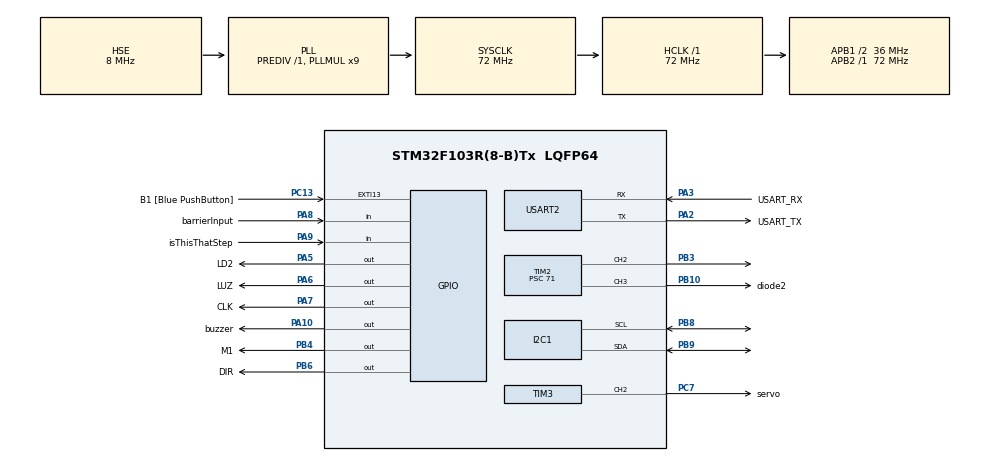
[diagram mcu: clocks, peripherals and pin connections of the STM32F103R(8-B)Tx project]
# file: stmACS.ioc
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Mcu.Family=STM32F1
Mcu.Name=STM32F103R(8-B)Tx
Mcu.Package=LQFP64
NVIC.EXTI15_10_IRQn=true\:0\:0\:false\:false\:true\:true\:true
NVIC.PriorityGroup=NVIC_PRIORITYGROUP_4
NVIC.TIM3_IRQn=true\:0\:0\:false\:false\:true\:true\:true
PA10.GPIO_Label=buzzer
PA10.Signal=GPIO_Output
PA13.GPIO_Label=TMS
PA13.Mode=Serial_Wire
PA13.Signal=SYS_JTMS-SWDIO
PA14.GPIO_Label=TCK
PA14.Mode=Serial_Wire
PA14.Signal=SYS_JTCK-SWCLK
PA2.GPIO_Label=USART_TX
PA2.GPIO_Mode=GPIO_MODE_AF_PP
PA2.GPIO_PuPd=GPIO_NOPULL
PA2.GPIO_Speed=GPIO_SPEED_FREQ_LOW
PA2.Mode=Asynchronous
PA2.Signal=USART2_TX
PA3.GPIO_Label=USART_RX
PA3.GPIO_Mode=GPIO_MODE_AF_PP
PA3.GPIO_PuPd=GPIO_NOPULL
PA3.GPIO_Speed=GPIO_SPEED_FREQ_LOW
PA3.Mode=Asynchronous
PA3.Signal=USART2_RX
PA5.GPIO_Label=LD2
PA5.GPIO_ModeDefaultOutputPP=GPIO_MODE_OUTPUT_PP
PA5.GPIO_PuPd=GPIO_NOPULL
PA5.GPIO_Speed=GPIO_SPEED_FREQ_LOW
PA5.Signal=GPIO_Output
PA6.GPIO_Label=LUZ
PA6.Signal=GPIO_Output
PA7.GPIO_Label=CLK
PA7.Signal=GPIO_Output
PA8.GPIO_Label=barrierInput
PA8.Signal=GPIO_Input
PA9.GPIO_Label=isThisThatStep
PA9.Signal=GPIO_Input
PB10.GPIO_Label=diode2
PB10.Signal=S_TIM2_CH3
PB3.Signal=S_TIM2_CH2
PB4.GPIO_Label=M1
PB4.Signal=GPIO_Output
PB6.GPIO_Label=DIR
PB6.Signal=GPIO_Output
PB8.Mode=I2C
PB8.Signal=I2C1_SCL
PB9.Mode=I2C
PB9.Signal=I2C1_SDA
PC13-TAMPER-RTC.GPIO_Label=B1 [Blue PushButton]
PC13-TAMPER-RTC.GPIO_PuPd=GPIO_NOPULL
PC13-TAMPER-RTC.Signal=GPXTI13
PC14-OSC32_IN.Mode=LSE-External-Oscillator
PC14-OSC32_IN.Signal=RCC_OSC32_IN
PC15-OSC32_OUT.Mode=LSE-External-Oscillator
PC15-OSC32_OUT.Signal=RCC_OSC32_OUT
PC7.GPIO_Label=servo
PC7.Signal=S_TIM3_CH2
PD0-OSC_IN.Mode=HSE-External-Clock-Source
PD0-OSC_IN.Signal=RCC_OSC_IN
PD1-OSC_OUT.Mode=HSE-External-Clock-Source
PD1-OSC_OUT.Signal=RCC_OSC_OUT
ProjectManager.HeapSize=0x200
ProjectManager.StackSize=0x400
ProjectManager.TargetToolchain=STM32CubeIDE
RCC.AHBFreq_Value=72000000
RCC.APB1CLKDivider=RCC_HCLK_DIV2
RCC.APB1Freq_Value=36000000
RCC.APB1TimFreq_Value=72000000
RCC.APB2Freq_Value=72000000
RCC.APB2TimFreq_Value=72000000
RCC.HCLKFreq_Value=72000000
RCC.PLLMUL=RCC_PLL_MUL9
RCC.PLLSourceVirtual=RCC_PLLSOURCE_HSE
RCC.RTCClockSelection=RCC_RTCCLKSOURCE_LSE
RCC.SYSCLKFreq_VALUE=72000000
RCC.SYSCLKSource=RCC_SYSCLKSOURCE_PLLCLK
RCC.USBFreq_Value=72000000
SH.S_TIM2_CH2.0=TIM2_CH2,PWM Generation2 CH2
SH.S_TIM2_CH3.0=TIM2_CH3,PWM Generation3 CH3
SH.S_TIM3_CH2.0=TIM3_CH2,PWM Generation2 CH2
TIM2.Channel-PWM\ Generation2\ CH2=TIM_CHANNEL_2
TIM2.Channel-PWM\ Generation3\ CH3=TIM_CHANNEL_3
TIM2.Period=999
TIM2.Prescaler=71
TIM3.Channel-PWM\ Generation2\ CH2=TIM_CHANNEL_2
TIM3.Period=19999
TIM3.Prescaler=71
USART2.VirtualMode=VM_ASYNC
VP_TIM2_VS_ClockSourceINT.Mode=Internal
VP_TIM3_VS_ClockSourceINT.Mode=Internal
board=NUCLEO-F103RB

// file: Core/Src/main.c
/* USER CODE BEGIN Header */
/**
  ******************************************************************************
  * @file           : main.c
  * @brief          : Main program body
  ******************************************************************************
  * @attention
  *
  * <h2><center>&copy; Copyright (c) 2020 STMicroelectronics.
  * All rights reserved.</center></h2>
  *
  * This software component is licensed by ST under BSD 3-Clause license,
  * the "License"; You may not use this file except in compliance with the
  * License. You may obtain a copy of the License at:
  *                        opensource.org/licenses/BSD-3-Clause
  *
  ******************************************************************************
  */
/* USER CODE END Header */

#include "main.h"

/* USER CODE BEGIN Includes */
#include "i2c-lcd.h"
/* USER CODE END Includes */

I2C_HandleTypeDef hi2c1;

TIM_HandleTypeDef htim2;
TIM_HandleTypeDef htim3;

UART_HandleTypeDef huart2;

/* USER CODE BEGIN PV */
_Bool isNextStepServo = 0;
int licznik=0;
//bool isNextStepServo = false; //determines if next step is cherry
/* USER CODE END PV */

void SystemClock_Config(void);
static void MX_GPIO_Init(void);
static void MX_USART2_UART_Init(void);
static void MX_TIM3_Init(void);
static void MX_I2C1_Init(void);
static void MX_TIM2_Init(void);

int main(void)
{

  /* MCU Configuration--------------------------------------------------------*/

  /* Reset of all peripherals, Initializes the Flash interface and the Systick. */
  HAL_Init();

  /* Configure the system clock */
  SystemClock_Config();

  /* Initialize all configured peripherals */
  MX_GPIO_Init();
  MX_USART2_UART_Init();
  MX_TIM3_Init();
  MX_I2C1_Init();
  MX_TIM2_Init();
  /* USER CODE BEGIN 2 */
  HAL_TIM_PWM_Start(&htim3, TIM_CHANNEL_2); /* PWM servo PC7 */
  HAL_TIM_PWM_Start(&htim2, TIM_CHANNEL_2); /* PWM diode1 */
  HAL_TIM_PWM_Start(&htim2, TIM_CHANNEL_3); /* PWM diode2 */
  lcd_init ();
  HAL_GPIO_WritePin(DIR_GPIO_Port, DIR_Pin, GPIO_PIN_RESET);
  //HAL_GPIO_WritePin(M1_GPIO_Port, M1_Pin, GPIO_PIN_SET);
  HAL_GPIO_WritePin(LUZ_GPIO_Port, LUZ_Pin, GPIO_PIN_RESET);
  HAL_GPIO_WritePin(CLK_GPIO_Port, CLK_Pin, GPIO_PIN_RESET);
  //__HAL_TIM_SET_COMPARE(&htim3, TIM_CHANNEL_2, 0);
 // htim3.Instance->CCR1=25;
  //HAL_Delay(1000);
  /* USER CODE END 2 */

  /* Infinite loop */
  /* USER CODE BEGIN WHILE */

  while (1)
  {

	  __HAL_TIM_SET_COMPARE(&htim2, TIM_CHANNEL_3, 1000);
	  //SILNIK KROKOWY

	  HAL_GPIO_WritePin(CLK_GPIO_Port, CLK_Pin, GPIO_PIN_SET);
	  HAL_Delay(1);
	  HAL_GPIO_WritePin(CLK_GPIO_Port, CLK_Pin, GPIO_PIN_RESET);
	  HAL_Delay(1000);

	  //HAL_GPIO_WritePin(LUZ_GPIO_Port, LUZ_Pin, GPIO_PIN_SET);

	  //lcd_send_string("JUDYTA MGF");
	  //HAL_Delay(1000);
	  //lcd_put_cur(1, 0);
	  //lcd_send_string("UMYJ NACZYNIA");

	  //WSTAW ZABEZPIECZENIE BUZZER I DIODA
	  	if(licznik>3){
	  		do{
	  	HAL_GPIO_WritePin(buzzer_GPIO_Port, buzzer_Pin, GPIO_PIN_SET);
	  	HAL_Delay(100);
	  	HAL_GPIO_WritePin(buzzer_GPIO_Port, buzzer_Pin, GPIO_PIN_RESET);
	  	HAL_Delay(1000);
	  	licznik=0;
	  	__HAL_TIM_SET_COMPARE(&htim2, TIM_CHANNEL_3, 0);
	  	__HAL_TIM_SET_COMPARE(&htim2, TIM_CHANNEL_2, 600);
	  		}while(HAL_GPIO_ReadPin(B1_GPIO_Port, B1_Pin) == 1);//wcisniety przycisk is button pressed?

	  	}

//czy wisnia wpadla
	  	  //if barrier broken -> signal low
		  if(HAL_GPIO_ReadPin(barrierInput_GPIO_Port, barrierInput_Pin) == 0){
			  isNextStepServo = 1;
			//  zmienna nextwycisniecie
		  }

		  //if step is righ (signal low) press the servo
		  if(HAL_GPIO_ReadPin(isThisThatStep_GPIO_Port, isThisThatStep_Pin) == 0 && isNextStepServo == 0){
			  licznik ++;
		  }
		  if(HAL_GPIO_ReadPin(isThisThatStep_GPIO_Port, isThisThatStep_Pin) == 0 && isNextStepServo == 1){
			  //wyciskanie
			HAL_GPIO_WritePin(LD2_GPIO_Port, LD2_Pin, GPIO_PIN_SET);
		  	HAL_Delay(100);
		  	HAL_GPIO_WritePin(LD2_GPIO_Port, LD2_Pin, GPIO_PIN_RESET);
		  	HAL_Delay(100);

		  	__HAL_TIM_SET_COMPARE(&htim3, TIM_CHANNEL_2, 600);
		  	 HAL_Delay(1000);
		  	__HAL_TIM_SET_COMPARE(&htim3, TIM_CHANNEL_2, 2400);
		  	HAL_Delay(1000);
		  	__HAL_TIM_SET_COMPARE(&htim3, TIM_CHANNEL_2, 600);

		  	HAL_Delay(1000);

			isNextStepServo = 0;

		 }

    /* USER CODE END WHILE */

  }
}

void SystemClock_Config(void)
{
  RCC_OscInitTypeDef RCC_OscInitStruct = {0};
  RCC_ClkInitTypeDef RCC_ClkInitStruct = {0};

  /** Initializes the CPU, AHB and APB busses clocks
  */
  RCC_OscInitStruct.OscillatorType = RCC_OSCILLATORTYPE_HSE;
  RCC_OscInitStruct.HSEState = RCC_HSE_BYPASS;
  RCC_OscInitStruct.HSEPredivValue = RCC_HSE_PREDIV_DIV1;
  RCC_OscInitStruct.HSIState = RCC_HSI_ON;
  RCC_OscInitStruct.PLL.PLLState = RCC_PLL_ON;
  RCC_OscInitStruct.PLL.PLLSource = RCC_PLLSOURCE_HSE;
  RCC_OscInitStruct.PLL.PLLMUL = RCC_PLL_MUL9;
  if (HAL_RCC_OscConfig(&RCC_OscInitStruct) != HAL_OK)
  {
    Error_Handler();
  }
  /** Initializes the CPU, AHB and APB busses clocks
  */
  RCC_ClkInitStruct.ClockType = RCC_CLOCKTYPE_HCLK|RCC_CLOCKTYPE_SYSCLK
                              |RCC_CLOCKTYPE_PCLK1|RCC_CLOCKTYPE_PCLK2;
  RCC_ClkInitStruct.SYSCLKSource = RCC_SYSCLKSOURCE_PLLCLK;
  RCC_ClkInitStruct.AHBCLKDivider = RCC_SYSCLK_DIV1;
  RCC_ClkInitStruct.APB1CLKDivider = RCC_HCLK_DIV2;
  RCC_ClkInitStruct.APB2CLKDivider = RCC_HCLK_DIV1;

  if (HAL_RCC_ClockConfig(&RCC_ClkInitStruct, FLASH_LATENCY_2) != HAL_OK)
  {
    Error_Handler();
  }
}

static void MX_I2C1_Init(void)
{

  hi2c1.Instance = I2C1;
  hi2c1.Init.ClockSpeed = 100000;
  hi2c1.Init.DutyCycle = I2C_DUTYCYCLE_2;
  hi2c1.Init.OwnAddress1 = 0;
  hi2c1.Init.AddressingMode = I2C_ADDRESSINGMODE_7BIT;
  hi2c1.Init.DualAddressMode = I2C_DUALADDRESS_DISABLE;
  hi2c1.Init.OwnAddress2 = 0;
  hi2c1.Init.GeneralCallMode = I2C_GENERALCALL_DISABLE;
  hi2c1.Init.NoStretchMode = I2C_NOSTRETCH_DISABLE;
  if (HAL_I2C_Init(&hi2c1) != HAL_OK)
  {
    Error_Handler();
  }

}

static void MX_TIM2_Init(void)
{

  TIM_ClockConfigTypeDef sClockSourceConfig = {0};
  TIM_MasterConfigTypeDef sMasterConfig = {0};
  TIM_OC_InitTypeDef sConfigOC = {0};

  htim2.Instance = TIM2;
  htim2.Init.Prescaler = 71;
  htim2.Init.CounterMode = TIM_COUNTERMODE_UP;
  htim2.Init.Period = 999;
  htim2.Init.ClockDivision = TIM_CLOCKDIVISION_DIV1;
  htim2.Init.AutoReloadPreload = TIM_AUTORELOAD_PRELOAD_DISABLE;
  if (HAL_TIM_Base_Init(&htim2) != HAL_OK)
  {
    Error_Handler();
  }
  sClockSourceConfig.ClockSource = TIM_CLOCKSOURCE_INTERNAL;
  if (HAL_TIM_ConfigClockSource(&htim2, &sClockSourceConfig) != HAL_OK)
  {
    Error_Handler();
  }
  if (HAL_TIM_PWM_Init(&htim2) != HAL_OK)
  {
    Error_Handler();
  }
  sMasterConfig.MasterOutputTrigger = TIM_TRGO_RESET;
  sMasterConfig.MasterSlaveMode = TIM_MASTERSLAVEMODE_DISABLE;
  if (HAL_TIMEx_MasterConfigSynchronization(&htim2, &sMasterConfig) != HAL_OK)
  {
    Error_Handler();
  }
  sConfigOC.OCMode = TIM_OCMODE_PWM1;
  sConfigOC.Pulse = 0;
  sConfigOC.OCPolarity = TIM_OCPOLARITY_HIGH;
  sConfigOC.OCFastMode = TIM_OCFAST_DISABLE;
  if (HAL_TIM_PWM_ConfigChannel(&htim2, &sConfigOC, TIM_CHANNEL_2) != HAL_OK)
  {
    Error_Handler();
  }
  if (HAL_TIM_PWM_ConfigChannel(&htim2, &sConfigOC, TIM_CHANNEL_3) != HAL_OK)
  {
    Error_Handler();
  }
  HAL_TIM_MspPostInit(&htim2);

}

static void MX_TIM3_Init(void)
{

  TIM_ClockConfigTypeDef sClockSourceConfig = {0};
  TIM_MasterConfigTypeDef sMasterConfig = {0};
  TIM_OC_InitTypeDef sConfigOC = {0};

  htim3.Instance = TIM3;
  htim3.Init.Prescaler = 71;
  htim3.Init.CounterMode = TIM_COUNTERMODE_UP;
  htim3.Init.Period = 19999;
  htim3.Init.ClockDivision = TIM_CLOCKDIVISION_DIV1;
  htim3.Init.AutoReloadPreload = TIM_AUTORELOAD_PRELOAD_DISABLE;
  if (HAL_TIM_Base_Init(&htim3) != HAL_OK)
  {
    Error_Handler();
  }
  sClockSourceConfig.ClockSource = TIM_CLOCKSOURCE_INTERNAL;
  if (HAL_TIM_ConfigClockSource(&htim3, &sClockSourceConfig) != HAL_OK)
  {
    Error_Handler();
  }
  if (HAL_TIM_PWM_Init(&htim3) != HAL_OK)
  {
    Error_Handler();
  }
  sMasterConfig.MasterOutputTrigger = TIM_TRGO_RESET;
  sMasterConfig.MasterSlaveMode = TIM_MASTERSLAVEMODE_DISABLE;
  if (HAL_TIMEx_MasterConfigSynchronization(&htim3, &sMasterConfig) != HAL_OK)
  {
    Error_Handler();
  }
  sConfigOC.OCMode = TIM_OCMODE_PWM1;
  sConfigOC.Pulse = 0;
  sConfigOC.OCPolarity = TIM_OCPOLARITY_HIGH;
  sConfigOC.OCFastMode = TIM_OCFAST_DISABLE;
  if (HAL_TIM_PWM_ConfigChannel(&htim3, &sConfigOC, TIM_CHANNEL_2) != HAL_OK)
  {
    Error_Handler();
  }
  HAL_TIM_MspPostInit(&htim3);

}

static void MX_USART2_UART_Init(void)
{

  huart2.Instance = USART2;
  huart2.Init.BaudRate = 115200;
  huart2.Init.WordLength = UART_WORDLENGTH_8B;
  huart2.Init.StopBits = UART_STOPBITS_1;
  huart2.Init.Parity = UART_PARITY_NONE;
  huart2.Init.Mode = UART_MODE_TX_RX;
  huart2.Init.HwFlowCtl = UART_HWCONTROL_NONE;
  huart2.Init.OverSampling = UART_OVERSAMPLING_16;
  if (HAL_UART_Init(&huart2) != HAL_OK)
  {
    Error_Handler();
  }

}

static void MX_GPIO_Init(void)
{
  GPIO_InitTypeDef GPIO_InitStruct = {0};

  /* GPIO Ports Clock Enable */
  __HAL_RCC_GPIOC_CLK_ENABLE();
  __HAL_RCC_GPIOD_CLK_ENABLE();
  __HAL_RCC_GPIOA_CLK_ENABLE();
  __HAL_RCC_GPIOB_CLK_ENABLE();

  /*Configure GPIO pin Output Level */
  HAL_GPIO_WritePin(GPIOA, LD2_Pin|LUZ_Pin|CLK_Pin|buzzer_Pin, GPIO_PIN_RESET);

  /*Configure GPIO pin Output Level */
  HAL_GPIO_WritePin(GPIOB, M1_Pin|DIR_Pin, GPIO_PIN_RESET);

  /*Configure GPIO pin : B1_Pin */
  GPIO_InitStruct.Pin = B1_Pin;
  GPIO_InitStruct.Mode = GPIO_MODE_IT_RISING;
  GPIO_InitStruct.Pull = GPIO_NOPULL;
  HAL_GPIO_Init(B1_GPIO_Port, &GPIO_InitStruct);

  /*Configure GPIO pins : LD2_Pin LUZ_Pin CLK_Pin buzzer_Pin */
  GPIO_InitStruct.Pin = LD2_Pin|LUZ_Pin|CLK_Pin|buzzer_Pin;
  GPIO_InitStruct.Mode = GPIO_MODE_OUTPUT_PP;
  GPIO_InitStruct.Pull = GPIO_NOPULL;
  GPIO_InitStruct.Speed = GPIO_SPEED_FREQ_LOW;
  HAL_GPIO_Init(GPIOA, &GPIO_InitStruct);

  /*Configure GPIO pins : barrierInput_Pin isThisThatStep_Pin */
  GPIO_InitStruct.Pin = barrierInput_Pin|isThisThatStep_Pin;
  GPIO_InitStruct.Mode = GPIO_MODE_INPUT;
  GPIO_InitStruct.Pull = GPIO_NOPULL;
  HAL_GPIO_Init(GPIOA, &GPIO_InitStruct);

  /*Configure GPIO pins : M1_Pin DIR_Pin */
  GPIO_InitStruct.Pin = M1_Pin|DIR_Pin;
  GPIO_InitStruct.Mode = GPIO_MODE_OUTPUT_PP;
  GPIO_InitStruct.Pull = GPIO_NOPULL;
  GPIO_InitStruct.Speed = GPIO_SPEED_FREQ_LOW;
  HAL_GPIO_Init(GPIOB, &GPIO_InitStruct);

  /* EXTI interrupt init*/
  HAL_NVIC_SetPriority(EXTI15_10_IRQn, 0, 0);
  HAL_NVIC_EnableIRQ(EXTI15_10_IRQn);

}

void Error_Handler(void)
{
}

/************************ (C) COPYRIGHT STMicroelectronics *****END OF FILE****/
